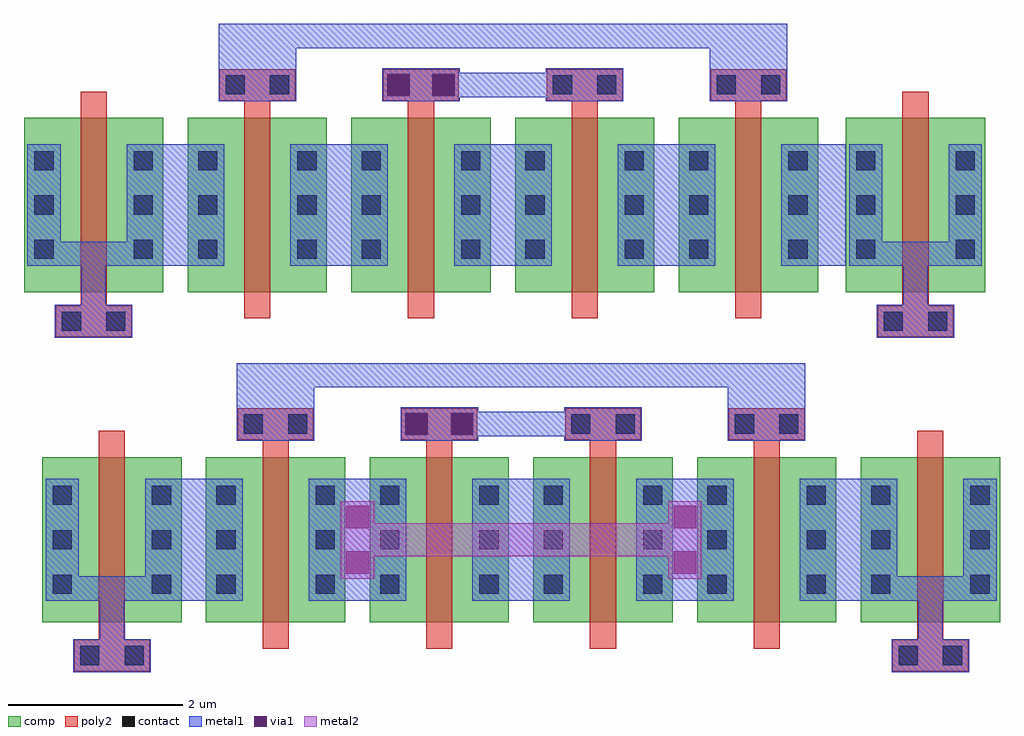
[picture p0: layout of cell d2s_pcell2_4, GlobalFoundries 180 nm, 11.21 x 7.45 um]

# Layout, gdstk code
import gdstk
lib = gdstk.Library(unit=1e-6, precision=5e-09)
def R(c, l, rs):  # rectangles x0, y0, x1, y1
    for r in rs: c.add(gdstk.rectangle(r[:2], r[2:], *l))
def A(c, l, x, y, w, h, nx, ny, dx, dy):  # array of equal rectangles
    R(c, l, [(x+i*dx, y+j*dy, x+i*dx+w, y+j*dy+h) for i in range(nx) for j in range(ny)])
comp = (22, 0)
poly2 = (30, 0)
contact = (33, 0)
metal1 = (34, 0)
via1 = (35, 0)
metal2 = (36, 0)

d2s_pcell2_1 = lib.new_cell('d2s_pcell2_1')
R(d2s_pcell2_1, comp, [(0,0.3,0.46,2.3), (0.46,0.3,1.14,2.3), (1.14,0.3,1.6,2.3)])
R(d2s_pcell2_1, poly2, [(0.65,0,0.95,2.6)])
A(d2s_pcell2_1, contact, 0.12, 0.68, 0.22, 0.22, 1, 3, 0, 0.51)
A(d2s_pcell2_1, contact, 1.26, 0.68, 0.22, 0.22, 1, 3, 0, 0.51)
R(d2s_pcell2_1, metal1, [(0.04,0.6,0.42,2), (1.18,0.6,1.56,2)])

d2s_ncell_1_1 = lib.new_cell('d2s_ncell_1$1')
R(d2s_ncell_1_1, comp, [(0,0.3,0.46,2.2), (0.46,0.3,1.14,2.2), (1.14,0.3,1.6,2.2)])
R(d2s_ncell_1_1, poly2, [(0.65,0,0.95,2.5)])
A(d2s_ncell_1_1, contact, 0.12, 0.63, 0.22, 0.22, 1, 3, 0, 0.51)
A(d2s_ncell_1_1, contact, 1.26, 0.63, 0.22, 0.22, 1, 3, 0, 0.51)
R(d2s_ncell_1_1, metal1, [(0.04,0.55,0.42,1.95), (1.18,0.55,1.56,1.95)])

d2s_ncell_4 = lib.new_cell('d2s_ncell_4')
A(d2s_ncell_4, poly2, 2.245, 2.4, 0.87, 0.36, 4, 1, 1.88, 0)
R(d2s_ncell_4, poly2, [(0.365,-0.26,1.235,0.1), (9.765,-0.26,10.635,0.1)])
R(d2s_ncell_4, contact, [(0.435,-0.19,0.655,0.03), (0.945,-0.19,1.165,0.03), (9.835,-0.19,10.055,0.03), (10.345,-0.19,10.565,0.03), (2.315,2.47,2.535,2.69), (2.825,2.47,3.045,2.69), (4.195,2.47,4.415,2.69), (4.705,2.47,4.925,2.69), (6.075,2.47,6.295,2.69), (6.585,2.47,6.805,2.69), (7.955,2.47,8.175,2.69), (8.465,2.47,8.685,2.69)])
A(d2s_ncell_4, metal1, 1.56, 0.55, 0.36, 1.4, 5, 1, 1.88, 0)
R(d2s_ncell_4, metal1, [(0.355,-0.27,1.245,0.11), (9.755,-0.27,10.645,0.11), (2.235,2.39,3.125,3.28), (4.115,2.39,5.005,2.77), (5.995,2.39,6.885,2.77), (7.875,2.39,8.765,3.28)])
R(d2s_ncell_4, via1, [(3.49,0.86,3.75,1.12), (7.25,0.86,7.51,1.12), (3.49,1.38,3.75,1.64), (7.25,1.38,7.51,1.64), (4.17,2.45,4.43,2.71), (4.69,2.45,4.95,2.71)])
R(d2s_ncell_4, metal2, [(3.43,0.805,3.81,1.695), (7.19,0.805,7.57,1.695)])
d2s_ncell_4.add(gdstk.FlexPath([(0.8,0.11),(0.8,0.55)], 0.28, ends="flush", simple_path=True, layer=34, datatype=0))  # metal1
d2s_ncell_4.add(gdstk.FlexPath([(0.42,0.69),(1.18,0.69)], 0.28, ends="flush", simple_path=True, layer=34, datatype=0))  # metal1
d2s_ncell_4.add(gdstk.FlexPath([(9.82,0.69),(10.58,0.69)], 0.28, ends="flush", simple_path=True, layer=34, datatype=0))  # metal1
d2s_ncell_4.add(gdstk.FlexPath([(10.2,0.11),(10.2,0.55)], 0.28, ends="flush", simple_path=True, layer=34, datatype=0))  # metal1
d2s_ncell_4.add(gdstk.FlexPath([(5.995,2.58),(5.005,2.58)], 0.28, ends="flush", simple_path=True, layer=34, datatype=0))  # metal1
d2s_ncell_4.add(gdstk.FlexPath([(8.765,3.14),(2.235,3.14)], 0.28, ends="flush", simple_path=True, layer=34, datatype=0))  # metal1
d2s_ncell_4.add(gdstk.FlexPath([(3.81,1.25),(7.19,1.25)], 0.38, ends="flush", simple_path=True, layer=36, datatype=0))  # metal2
d2s_ncell_4.add(gdstk.Reference(d2s_ncell_1_1, (0,0)))
d2s_ncell_4.add(gdstk.Reference(d2s_ncell_1_1, (1.88,0)))
d2s_ncell_4.add(gdstk.Reference(d2s_ncell_1_1, (3.76,0)))
d2s_ncell_4.add(gdstk.Reference(d2s_ncell_1_1, (5.64,0)))
d2s_ncell_4.add(gdstk.Reference(d2s_ncell_1_1, (7.52,0)))
d2s_ncell_4.add(gdstk.Reference(d2s_ncell_1_1, (9.4,0)))

d2s_pcell2_4 = lib.new_cell('d2s_pcell2_4')
A(d2s_pcell2_4, poly2, 2.245, 2.725, 0.87, 0.36, 4, 1, 1.88, 0)
R(d2s_pcell2_4, poly2, [(0.365,0.01,1.235,0.37), (9.805,0.01,10.675,0.37)])
R(d2s_pcell2_4, contact, [(0.435,0.08,0.655,0.3), (0.945,0.08,1.165,0.3), (9.875,0.08,10.095,0.3), (10.385,0.08,10.605,0.3), (2.315,2.795,2.535,3.015), (2.825,2.795,3.045,3.015), (4.195,2.795,4.415,3.015), (4.705,2.795,4.925,3.015), (6.075,2.795,6.295,3.015), (6.585,2.795,6.805,3.015), (7.955,2.795,8.175,3.015), (8.465,2.795,8.685,3.015)])
A(d2s_pcell2_4, metal1, 1.56, 0.825, 0.36, 1.4, 5, 1, 1.88, 0)
R(d2s_pcell2_4, metal1, [(0.355,0,1.245,0.38), (9.795,0,10.685,0.38), (2.235,2.715,3.125,3.605), (4.115,2.715,5.005,3.095), (5.995,2.715,6.885,3.095), (7.875,2.715,8.765,3.605)])
R(d2s_pcell2_4, via1, [(4.17,2.775,4.43,3.035), (4.69,2.775,4.95,3.035)])
d2s_pcell2_4.add(gdstk.FlexPath([(0.8,0.38),(0.8,0.825)], 0.28, ends="flush", simple_path=True, layer=34, datatype=0))  # metal1
d2s_pcell2_4.add(gdstk.FlexPath([(1.18,0.965),(0.42,0.965)], 0.28, ends="flush", simple_path=True, layer=34, datatype=0))  # metal1
d2s_pcell2_4.add(gdstk.FlexPath([(10.24,0.38),(10.24,0.825)], 0.28, ends="flush", simple_path=True, layer=34, datatype=0))  # metal1
d2s_pcell2_4.add(gdstk.FlexPath([(10.62,0.965),(9.86,0.965)], 0.28, ends="flush", simple_path=True, layer=34, datatype=0))  # metal1
d2s_pcell2_4.add(gdstk.FlexPath([(5.995,2.905),(5.005,2.905)], 0.28, ends="flush", simple_path=True, layer=34, datatype=0))  # metal1
d2s_pcell2_4.add(gdstk.FlexPath([(8.765,3.465),(2.235,3.465)], 0.28, ends="flush", simple_path=True, layer=34, datatype=0))  # metal1
d2s_pcell2_4.add(gdstk.Reference(d2s_pcell2_1, (0,0.225)))
d2s_pcell2_4.add(gdstk.Reference(d2s_pcell2_1, (1.88,0.225)))
d2s_pcell2_4.add(gdstk.Reference(d2s_pcell2_1, (3.76,0.225)))
d2s_pcell2_4.add(gdstk.Reference(d2s_ncell_4, (0.21,-3.57)))
d2s_pcell2_4.add(gdstk.Reference(d2s_pcell2_1, (5.64,0.225)))
d2s_pcell2_4.add(gdstk.Reference(d2s_pcell2_1, (7.52,0.225)))
d2s_pcell2_4.add(gdstk.Reference(d2s_pcell2_1, (9.44,0.225)))

lib.write_gds('d2s_pcell2_4.gds')
